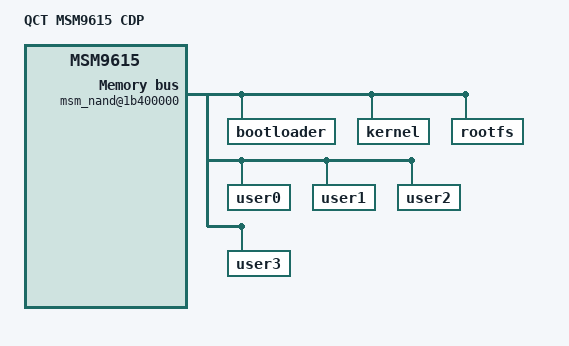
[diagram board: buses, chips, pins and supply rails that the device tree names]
/* Copyright (c) 2015, Sierra Wireless, Inc. All rights reserved.
 *
 * This program is free software; you can redistribute it and/or modify
 * it under the terms of the GNU General Public License version 2 and
 * only version 2 as published by the Free Software Foundation.
 *
 * This program is distributed in the hope that it will be useful,
 * but WITHOUT ANY WARRANTY; without even the implied warranty of
 * MERCHANTABILITY or FITNESS FOR A PARTICULAR PURPOSE.  See the
 * GNU General Public License for more details.
 */

/dts-v1/;
#include "skeleton.dtsi"

/ {
	model = "QCT MSM9615 CDP";
	compatible = "qcom,msm9615";

    msm_nand@1b400000 {
        compatible = "micron,mt29f4g08", "onfi-flash";
        reg = <0x1b400000 0x15200000>;
        /* byte width of flash bank if more than one chip */
        bank-width = <1>;
        /* byte width of singe flash device */
        device-width = <1>;
        #address-cells = <1>;
        #size-cells = <1>;


        bootloader@0x051c0000 {
            label = "bootloader";
            reg = <0x51c0000 0x100000>;
            read-only;
        };

        kernel@0x052c0000 {
            label = "kernel";
            reg = <0x52c0000 0x1400000>;
            read-only;
        };

        rootfs@0x066c0000 {
            label = "rootfs";
            reg = <0x66c0000 0x3140000>;
            read-only;
        };

        user0@0x09800000 {
            label = "user0";
            reg = <0x9800000 0x2780000>;
        };

        user1@0x0bf80000 {
            label = "user1";
            reg = <0xbf80000 0x8B80000>;
        };

        user2@0x14b00000 {
            label = "user2";
            reg = <0x14b00000 0x500000>;
        };

        user3@0x15000000 {
            label = "user3";
            reg = <0x15000000 0x200000>;
        };
    };
};
